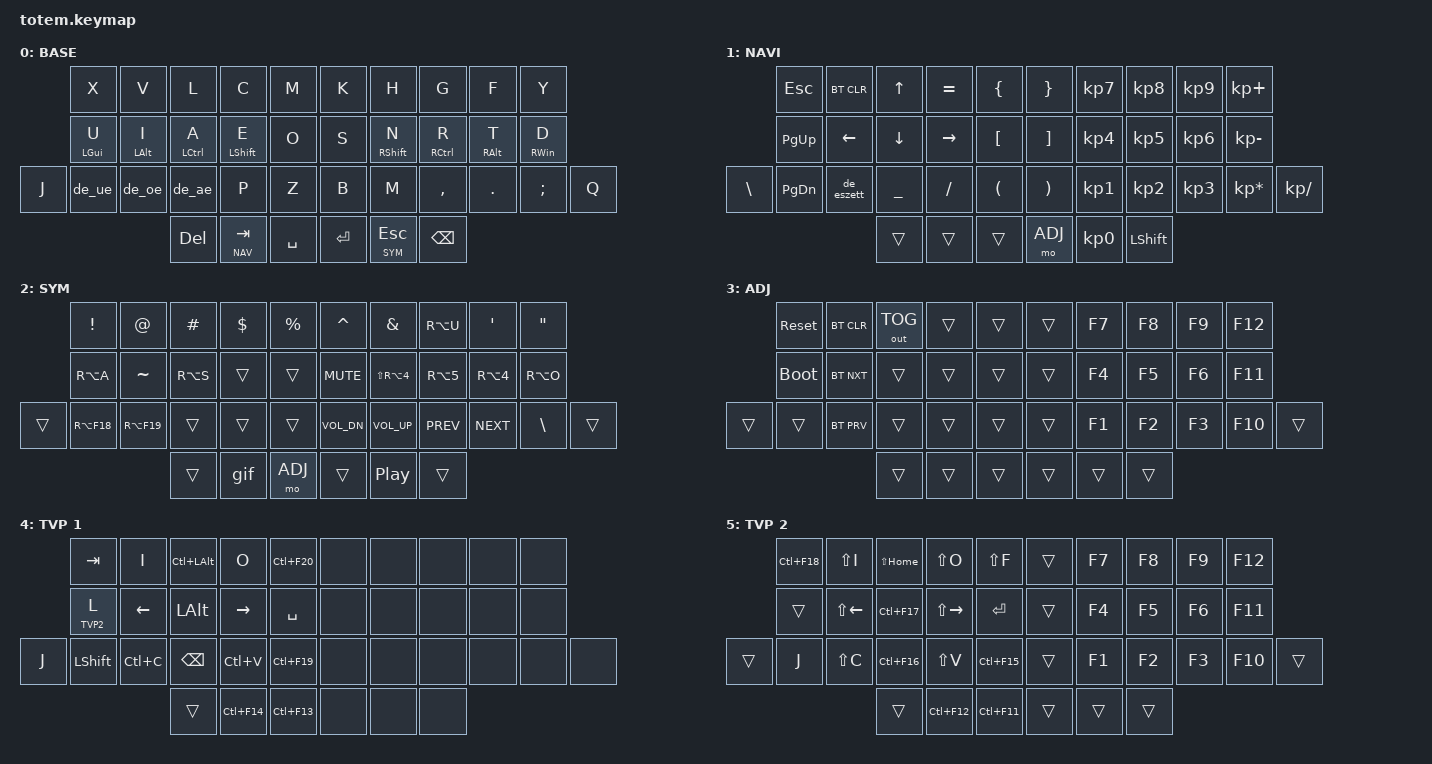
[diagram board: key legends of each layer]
//
//                                                        ▀▀▀▀▀     ▀▀▀▀▀          ▀▀█▀▀
//                                                        ▄▀▀▀▄  ▄  ▄▀▀▀▄  ▄  ▄▀▀▀▄  █  ▄▀▀▀▄
//                                                        █   █  █  █   █  █  █   █  █  █   █
//                                                         ▀▀▀   █   ▀▀▀   █   ▀▀▀   ▀   ▀▀▀
//                                                               █      ▄▄▄█▄▄▄    █   █  
//                                                               ▀      █  █  █     █▄█
//                                                             ▀▀▀▀▀    █  █  █      ▀
//                                                                      ▀  ▀  ▀
//
// ▄▄▄▄▄▄▄▄▄▄▄▄▄▄▄▄▄▄▄▄▄▄▄▄▄▄▄▄▄▄▄▄▄▄▄▄▄▄▄▄▄▄▄▄▄▄▄▄▄▄▄▄▄▄▄▄▄▄▄▄▄▄▄▄▄▄▄▄▄▄▄▄▄▄▄▄▄▄▄▄▄▄▄▄▄▄▄▄▄▄▄▄▄▄▄▄▄▄▄▄▄▄▄▄▄▄▄▄▄▄▄▄▄▄▄▄▄▄▄▄▄▄▄▄▄▄▄▄▄▄▄▄▄▄▄▄▄▄▄▄▄▄▄▄▄▄▄▄▄

#include "zmk-helpers/helper.h"
#include "zmk-helpers/unicode-chars/german.dtsi"
#include <behaviors.dtsi>
#include <dt-bindings/zmk/bt.h>
#include <dt-bindings/zmk/keys.h>
#include <dt-bindings/zmk/outputs.h>

#define BASE 0
#define NAV  1
#define SYM  2
#define ADJ  3
#define TVP1 4
#define TVP2 5

&mt {
    quick-tap-ms = <100>;
    global-quick-tap;
    flavor = "tap-preferred";
    tapping-term-ms = <170>;
};

/ {
    combos {
        compatible = "zmk,combos";

        combo_esc {
            timeout-ms = <50>;
            key-positions = <0 1>;
            bindings = <&kp ESC>;
        };

        combo_tvp {
            timeout-ms = <100>;
            key-positions = <11 12 13>;
            bindings = <&tog TVP1>;
        };
    };

    macros {
        gif: gif {
            label = "giphy";
            compatible = "zmk,behavior-macro";
            #binding-cells = <0>;
            bindings =
                <&macro_press>,
                <&kp LSHFT>,
                <&macro_tap>,
                <&kp N2>,
                <&macro_release>,
                <&kp LSHFT>,
                <&macro_tap>,
                <&kp G &kp I &kp F>;
        };
    };

    keymap {
        compatible = "zmk,keymap";

        // ▄▄▄▄▄▄▄▄▄▄▄▄▄▄▄▄▄▄▄▄▄▄▄▄▄▄▄▄▄▄▄▄▄▄▄▄▄▄▄▄▄▄▄▄▄▄▄▄▄▄▄▄▄▄▄▄▄▄▄▄▄▄▄▄▄▄▄▄▄▄▄▄▄▄▄▄▄▄▄▄▄▄▄▄▄▄▄▄▄▄▄▄▄▄▄▄▄▄▄▄▄▄▄▄▄▄▄▄▄▄▄▄▄▄▄▄▄▄▄▄▄▄▄▄▄▄▄▄▄▄▄▄▄▄▄▄▄▄▄▄▄▄▄▄▄▄▄▄▄

        base_layer {
            // ┏━━━━━━━━━━━━━━━━━━━━━━━━━━━━━━━━━━━━━━━┓

            label = "BASE";

            // ┗━━━━━━━━━━━━━━━━━━━━━━━━━━━━━━━━━━━━━━━┛
            //             ┏━━━━━━━━━━━┳━━━━━━━━━━━┳━━━━━━━━━━━┳━━━━━━━━━━━┳━━━━━━━━━━━┓   ┏━━━━━━━━━━━┳━━━━━━━━━━━┳━━━━━━━━━━━┳━━━━━━━━━━━┳━━━━━━━━━━━┓
            //             ┃     Q     ┃     W     ┃     F     ┃     P     ┃     G     ┃   ┃     J     ┃     L     ┃     U     ┃     Y     ┃     ;     ┃
            //             ┣━━━━━━━━━━━╋━━━━━━━━━━━╋━━━━━━━━━━━╋━━━━━━━━━━━╋━━━━━━━━━━━┫   ┣━━━━━━━━━━━╋━━━━━━━━━━━╋━━━━━━━━━━━╋━━━━━━━━━━━╋━━━━━━━━━━━┫
            //             ┃     A     ┃     R     ┃     S     ┃     T     ┃     D     ┃   ┃     H     ┃     N     ┃     E     ┃     I     ┃     O     ┃
            // ┏━━━━━━━━━━━╋━━━━━━━━━━━╋━━━━━━━━━━━╋━━━━━━━━━━━╋━━━━━━━━━━━╋━━━━━━━━━━━┫   ┣━━━━━━━━━━━╋━━━━━━━━━━━╋━━━━━━━━━━━╋━━━━━━━━━━━╋━━━━━━━━━━━╋━━━━━━━━━━━┓
            // ┃     Q     ┃     Z     ┃     X     ┃     C     ┃     V     ┃     B     ┃   ┃     K     ┃     M     ┃     ,     ┃     .     ┃     /     ┃     \     ┃
            // ┗━━━━━━━━━━━┻━━━━━━━━━━━┻━━━━━━━━━━━╋━━━━━━━━━━━╋━━━━━━━━━━━╋━━━━━━━━━━━┫   ┣━━━━━━━━━━━╋━━━━━━━━━━━╋━━━━━━━━━━━╋━━━━━━━━━━━┻━━━━━━━━━━━┻━━━━━━━━━━━┛
            //                                     ┃    DEL    ┃    TAB    ┃    SPC    ┃   ┃   ENTER   ┃           ┃   BSPC    ┃
            //                                     ┗━━━━━━━━━━━┻━━━━━━━━━━━┻━━━━━━━━━━━┛   ┗━━━━━━━━━━━┻━━━━━━━━━━━┻━━━━━━━━━━━┛

            bindings = <
       &kp X       &kp V       &kp L        &kp C        &kp M        &kp K    &kp H           &kp G        &kp F       &kp Y
       &mt LGUI U  &mt LALT I  &mt LCTRL A  &mt LSHFT E  &kp O        &kp S    &mt RSHFT N     &mt RCTRL R  &mt RALT T  &mt RIGHT_WIN D
&kp J  &de_ue      &de_oe      &de_ae       &kp P        &kp Z        &kp B    &kp M           &kp COMMA    &kp DOT     &kp SEMICOLON    &kp Q
                               &kp DEL      &lt NAV TAB  &kp SPACE    &kp RET  &lt SYM ESCAPE  &kp BSPC
            >;
        };

        // ▄▄▄▄▄▄▄▄▄▄▄▄▄▄▄▄▄▄▄▄▄▄▄▄▄▄▄▄▄▄▄▄▄▄▄▄▄▄▄▄▄▄▄▄▄▄▄▄▄▄▄▄▄▄▄▄▄▄▄▄▄▄▄▄▄▄▄▄▄▄▄▄▄▄▄▄▄▄▄▄▄▄▄▄▄▄▄▄▄▄▄▄▄▄▄▄▄▄▄▄▄▄▄▄▄▄▄▄▄▄▄▄▄▄▄▄▄▄▄▄▄▄▄▄▄▄▄▄▄▄▄▄▄▄▄▄▄▄▄▄▄▄▄▄▄▄▄▄▄

        nav_layer {
            // ┏━━━━━━━━━━━━━━━━━━━━━━━━━━━━━━━━━━━━━━━┓

            label = "NAVI";

            // ┗━━━━━━━━━━━━━━━━━━━━━━━━━━━━━━━━━━━━━━━┛
            //             ┏━━━━━━━━━━━┳━━━━━━━━━━━┳━━━━━━━━━━━┳━━━━━━━━━━━┳━━━━━━━━━━━┓   ┏━━━━━━━━━━━┳━━━━━━━━━━━┳━━━━━━━━━━━┳━━━━━━━━━━━┳━━━━━━━━━━━┓
            //             ┃           ┃           ┃     UP    ┃           ┃     {     ┃   ┃     }     ┃     7     ┃     8     ┃     9     ┃     +     ┃
            //             ┣━━━━━━━━━━━╋━━━━━━━━━━━╋━━━━━━━━━━━╋━━━━━━━━━━━╋━━━━━━━━━━━┫   ┣━━━━━━━━━━━╋━━━━━━━━━━━╋━━━━━━━━━━━╋━━━━━━━━━━━╋━━━━━━━━━━━┫
            //             ┃   SHIFT   ┃   LEFT    ┃    DOWN   ┃   RIGHT   ┃     [     ┃   ┃     ]     ┃     4     ┃     5     ┃     6     ┃     -     ┃
            // ┏━━━━━━━━━━━╋━━━━━━━━━━━╋━━━━━━━━━━━╋━━━━━━━━━━━╋━━━━━━━━━━━╋━━━━━━━━━━━┫   ┣━━━━━━━━━━━╋━━━━━━━━━━━╋━━━━━━━━━━━╋━━━━━━━━━━━╋━━━━━━━━━━━╋━━━━━━━━━━━┓
            // ┃           ┃           ┃   P UP    ┃  C LOCK   ┃  P DOWN   ┃     (     ┃   ┃     )     ┃     1     ┃     2     ┃     3     ┃     *     ┃           ┃
            // ┗━━━━━━━━━━━┻━━━━━━━━━━━┻━━━━━━━━━━━╋━━━━━━━━━━━╋━━━━━━━━━━━╋━━━━━━━━━━━┫   ┣━━━━━━━━━━━╋━━━━━━━━━━━╋━━━━━━━━━━━╋━━━━━━━━━━━┻━━━━━━━━━━━┻━━━━━━━━━━━┛
            //                                     ┃           ┃    TAB    ┃    SPC    ┃   ┃    DEL    ┃     0     ┃           ┃
            //                                     ┗━━━━━━━━━━━┻━━━━━━━━━━━┻━━━━━━━━━━━┛   ┗━━━━━━━━━━━┻━━━━━━━━━━━┻━━━━━━━━━━━┛

            bindings = <
               &kp ESC    &bt BT_CLR  &kp UP          &kp EQUAL  &kp LBRC    &kp RBRC  &kp KP_N7  &kp KP_N8  &kp KP_N9  &kp KP_PLUS
               &kp PG_UP  &kp LEFT    &kp DOWN        &kp RIGHT  &kp LBKT    &kp RBKT  &kp KP_N4  &kp KP_N5  &kp KP_N6  &kp KP_MINUS
&kp BACKSLASH  &kp PG_DN  &de_eszett  &kp UNDERSCORE  &kp SLASH  &kp LPAR    &kp RPAR  &kp KP_N1  &kp KP_N2  &kp KP_N3  &kp KP_MULTIPLY  &kp KP_DIVIDE
                                      &trans          &trans     &trans      &mo ADJ   &kp KP_N0  &kp LSHFT
            >;
        };

        // ▄▄▄▄▄▄▄▄▄▄▄▄▄▄▄▄▄▄▄▄▄▄▄▄▄▄▄▄▄▄▄▄▄▄▄▄▄▄▄▄▄▄▄▄▄▄▄▄▄▄▄▄▄▄▄▄▄▄▄▄▄▄▄▄▄▄▄▄▄▄▄▄▄▄▄▄▄▄▄▄▄▄▄▄▄▄▄▄▄▄▄▄▄▄▄▄▄▄▄▄▄▄▄▄▄▄▄▄▄▄▄▄▄▄▄▄▄▄▄▄▄▄▄▄▄▄▄▄▄▄▄▄▄▄▄▄▄▄▄▄▄▄▄▄▄▄▄▄▄

        sim_layer {
            // ┏━━━━━━━━━━━━━━━━━━━━━━━━━━━━━━━━━━━━━━━┓

            label = "SYM";

            // ┗━━━━━━━━━━━━━━━━━━━━━━━━━━━━━━━━━━━━━━━┛
            //             ┏━━━━━━━━━━━┳━━━━━━━━━━━┳━━━━━━━━━━━┳━━━━━━━━━━━┳━━━━━━━━━━━┓   ┏━━━━━━━━━━━┳━━━━━━━━━━━┳━━━━━━━━━━━┳━━━━━━━━━━━┳━━━━━━━━━━━┓
            //             ┃     !     ┃     @     ┃     #     ┃     $     ┃     %     ┃   ┃     ˆ     ┃     &     ┃     Ü     ┃     '     ┃     "     ┃
            //             ┣━━━━━━━━━━━╋━━━━━━━━━━━╋━━━━━━━━━━━╋━━━━━━━━━━━╋━━━━━━━━━━━┫   ┣━━━━━━━━━━━╋━━━━━━━━━━━╋━━━━━━━━━━━╋━━━━━━━━━━━╋━━━━━━━━━━━┫
            //             ┃     Ä     ┃           ┃    SZ     ┃           ┃           ┃   ┃   MUTE    ┃   YEN     ┃   EURO    ┃  POUND    ┃     Ö     ┃
            // ┏━━━━━━━━━━━╋━━━━━━━━━━━╋━━━━━━━━━━━╋━━━━━━━━━━━╋━━━━━━━━━━━╋━━━━━━━━━━━┫   ┣━━━━━━━━━━━╋━━━━━━━━━━━╋━━━━━━━━━━━╋━━━━━━━━━━━╋━━━━━━━━━━━╋━━━━━━━━━━━┓
            // ┃           ┃  EMAIL1   ┃  EMAIL2   ┃           ┃           ┃           ┃   ┃   VOL-    ┃   VOL+    ┃   LAST    ┃   NEXT    ┃     \     ┃           ┃
            // ┗━━━━━━━━━━━┻━━━━━━━━━━━┻━━━━━━━━━━━╋━━━━━━━━━━━╋━━━━━━━━━━━╋━━━━━━━━━━━┫   ┣━━━━━━━━━━━╋━━━━━━━━━━━╋━━━━━━━━━━━╋━━━━━━━━━━━┻━━━━━━━━━━━┻━━━━━━━━━━━┛
            //                                     ┃           ┃    GIF    ┃    ADJ    ┃   ┃           ┃           ┃           ┃
            //                                     ┗━━━━━━━━━━━┻━━━━━━━━━━━┻━━━━━━━━━━━┛   ┗━━━━━━━━━━━┻━━━━━━━━━━━┻━━━━━━━━━━━┛

            bindings = <
        &kp EXCL     &kp AT       &kp HASH   &kp DLLR  &kp PRCNT    &kp CARET     &kp AMPS        &kp RA(U)   &kp SQT     &kp DQT
        &kp RA(A)    &kp TILDE    &kp RA(S)  &trans    &trans       &kp C_MUTE    &kp LS(RA(N4))  &kp RA(N5)  &kp RA(N4)  &kp RA(O)
&trans  &kp RA(F18)  &kp RA(F19)  &trans     &trans    &trans       &kp C_VOL_DN  &kp C_VOL_UP    &kp C_PREV  &kp C_NEXT  &kp BSLH   &trans
                                  &trans     &gif      &mo ADJ      &trans        &kp C_PP        &trans
            >;
        };

        // ▄▄▄▄▄▄▄▄▄▄▄▄▄▄▄▄▄▄▄▄▄▄▄▄▄▄▄▄▄▄▄▄▄▄▄▄▄▄▄▄▄▄▄▄▄▄▄▄▄▄▄▄▄▄▄▄▄▄▄▄▄▄▄▄▄▄▄▄▄▄▄▄▄▄▄▄▄▄▄▄▄▄▄▄▄▄▄▄▄▄▄▄▄▄▄▄▄▄▄▄▄▄▄▄▄▄▄▄▄▄▄▄▄▄▄▄▄▄▄▄▄▄▄▄▄▄▄▄▄▄▄▄▄▄▄▄▄▄▄▄▄▄▄▄▄▄▄▄▄

        adjust_layer {
            // ┏━━━━━━━━━━━━━━━━━━━━━━━━━━━━━━━━━━━━━━━┓

            label = "ADJ";

            // ┗━━━━━━━━━━━━━━━━━━━━━━━━━━━━━━━━━━━━━━━┛
            //             ┏━━━━━━━━━━━┳━━━━━━━━━━━┳━━━━━━━━━━━┳━━━━━━━━━━━┳━━━━━━━━━━━┓   ┏━━━━━━━━━━━┳━━━━━━━━━━━┳━━━━━━━━━━━┳━━━━━━━━━━━┳━━━━━━━━━━━┓
            //             ┃   RESET   ┃ BT CLEAR  ┃  OUT TOG  ┃           ┃           ┃   ┃           ┃    F7     ┃    F8     ┃    F9     ┃    F12    ┃
            //             ┣━━━━━━━━━━━╋━━━━━━━━━━━╋━━━━━━━━━━━╋━━━━━━━━━━━╋━━━━━━━━━━━┫   ┣━━━━━━━━━━━╋━━━━━━━━━━━╋━━━━━━━━━━━╋━━━━━━━━━━━╋━━━━━━━━━━━┫
            //             ┃ BOOTLOAD  ┃ BT NEXT   ┃           ┃           ┃           ┃   ┃           ┃    F4     ┃    F5     ┃    F6     ┃    F11    ┃
            // ┏━━━━━━━━━━━╋━━━━━━━━━━━╋━━━━━━━━━━━╋━━━━━━━━━━━╋━━━━━━━━━━━╋━━━━━━━━━━━┫   ┣━━━━━━━━━━━╋━━━━━━━━━━━╋━━━━━━━━━━━╋━━━━━━━━━━━╋━━━━━━━━━━━╋━━━━━━━━━━━┓
            // ┃           ┃           ┃ BT PREV   ┃           ┃           ┃           ┃   ┃           ┃    F1     ┃    F2     ┃    F3     ┃    F10    ┃           ┃
            // ┗━━━━━━━━━━━┻━━━━━━━━━━━┻━━━━━━━━━━━╋━━━━━━━━━━━╋━━━━━━━━━━━╋━━━━━━━━━━━┫   ┣━━━━━━━━━━━╋━━━━━━━━━━━╋━━━━━━━━━━━╋━━━━━━━━━━━┻━━━━━━━━━━━┻━━━━━━━━━━━┛
            //                                     ┃           ┃           ┃           ┃   ┃           ┃           ┃           ┃
            //                                     ┗━━━━━━━━━━━┻━━━━━━━━━━━┻━━━━━━━━━━━┛   ┗━━━━━━━━━━━┻━━━━━━━━━━━┻━━━━━━━━━━━┛

            bindings = <
        &sys_reset   &bt BT_CLR  &out OUT_TOG  &trans  &trans    &trans  &kp F7  &kp F8  &kp F9  &kp F12
        &bootloader  &bt BT_NXT  &trans        &trans  &trans    &trans  &kp F4  &kp F5  &kp F6  &kp F11
&trans  &trans       &bt BT_PRV  &trans        &trans  &trans    &trans  &kp F1  &kp F2  &kp F3  &kp F10  &trans
                                 &trans        &trans  &trans    &trans  &trans  &trans
            >;
        };

        // ▄▄▄▄▄▄▄▄▄▄▄▄▄▄▄▄▄▄▄▄▄▄▄▄▄▄▄▄▄▄▄▄▄▄▄▄▄▄▄▄▄▄▄▄▄▄▄▄▄▄▄▄▄▄▄▄▄▄▄▄▄▄▄▄▄▄▄▄▄▄▄▄▄▄▄▄▄▄▄▄▄▄▄▄▄▄▄▄▄▄▄▄▄▄▄▄▄▄▄▄▄▄▄▄▄▄▄▄▄▄▄▄▄▄▄▄▄▄▄▄▄▄▄▄▄▄▄▄▄▄▄▄▄▄▄▄▄▄▄▄▄▄▄▄▄▄▄▄▄

        tvp1_layer {
            // ┏━━━━━━━━━━━━━━━━━━━━━━━━━━━━━━━━━━━━━━━┓

            label = "TVP 1";

            // ┗━━━━━━━━━━━━━━━━━━━━━━━━━━━━━━━━━━━━━━━┛
            //             ┏━━━━━━━━━━━┳━━━━━━━━━━━┳━━━━━━━━━━━┳━━━━━━━━━━━┳━━━━━━━━━━━┓   ┏━━━━━━━━━━━┳━━━━━━━━━━━┳━━━━━━━━━━━┳━━━━━━━━━━━┳━━━━━━━━━━━┓
            //             ┃ NEXT FILE ┃ MARK IN   ┃ ROTATE    ┃ MARK OUT  ┃ SHOW SNAP ┃   ┃           ┃           ┃           ┃           ┃           ┃
            //             ┣━━━━━━━━━━━╋━━━━━━━━━━━╋━━━━━━━━━━━╋━━━━━━━━━━━╋━━━━━━━━━━━┫   ┣━━━━━━━━━━━╋━━━━━━━━━━━╋━━━━━━━━━━━╋━━━━━━━━━━━╋━━━━━━━━━━━┫
            //             ┃ TVP II    ┃ LEFT      ┃ PAN       ┃ RIGHT     ┃ PLAY/FLIP ┃   ┃           ┃           ┃           ┃           ┃           ┃
            // ┏━━━━━━━━━━━╋━━━━━━━━━━━╋━━━━━━━━━━━╋━━━━━━━━━━━╋━━━━━━━━━━━╋━━━━━━━━━━━┫   ┣━━━━━━━━━━━╋━━━━━━━━━━━╋━━━━━━━━━━━╋━━━━━━━━━━━╋━━━━━━━━━━━╋━━━━━━━━━━━┓
            // ┃ FULLSCR   ┃ SHIFT     ┃ COPY      ┃ DELETE    ┃ PASTE     ┃ IMG MARK  ┃   ┃           ┃           ┃           ┃           ┃           ┃           ┃
            // ┗━━━━━━━━━━━┻━━━━━━━━━━━┻━━━━━━━━━━━╋━━━━━━━━━━━╋━━━━━━━━━━━╋━━━━━━━━━━━┫   ┣━━━━━━━━━━━╋━━━━━━━━━━━╋━━━━━━━━━━━╋━━━━━━━━━━━┻━━━━━━━━━━━┻━━━━━━━━━━━┛
            //                                     ┃           ┃ UNDO/SAVE ┃  SEL/MOV  ┃   ┃           ┃           ┃           ┃
            //                                     ┗━━━━━━━━━━━┻━━━━━━━━━━━┻━━━━━━━━━━━┛   ┗━━━━━━━━━━━┻━━━━━━━━━━━┻━━━━━━━━━━━┛

            bindings = <
       &kp TAB     &kp I      &kp LC(LALT)  &kp O        &kp LC(F20)    &none  &none  &none  &none  &none
       &lt TVP2 L  &kp LEFT   &kp LALT      &kp RIGHT    &kp SPACE      &none  &none  &none  &none  &none
&kp J  &kp LSHFT   &kp LC(C)  &kp BSPC      &kp LC(V)    &kp LC(F19)    &none  &none  &none  &none  &none  &none
                              &trans        &kp LC(F14)  &kp LC(F13)    &none  &none  &none
            >;
        };

        // ▄▄▄▄▄▄▄▄▄▄▄▄▄▄▄▄▄▄▄▄▄▄▄▄▄▄▄▄▄▄▄▄▄▄▄▄▄▄▄▄▄▄▄▄▄▄▄▄▄▄▄▄▄▄▄▄▄▄▄▄▄▄▄▄▄▄▄▄▄▄▄▄▄▄▄▄▄▄▄▄▄▄▄▄▄▄▄▄▄▄▄▄▄▄▄▄▄▄▄▄▄▄▄▄▄▄▄▄▄▄▄▄▄▄▄▄▄▄▄▄▄▄▄▄▄▄▄▄▄▄▄▄▄▄▄▄▄▄▄▄▄▄▄▄▄▄▄▄▄

        tvp2_layer {
            // ┏━━━━━━━━━━━━━━━━━━━━━━━━━━━━━━━━━━━━━━━┓

            label = "TVP 2";

            // ┗━━━━━━━━━━━━━━━━━━━━━━━━━━━━━━━━━━━━━━━┛
            //             ┏━━━━━━━━━━━┳━━━━━━━━━━━┳━━━━━━━━━━━┳━━━━━━━━━━━┳━━━━━━━━━━━┓   ┏━━━━━━━━━━━┳━━━━━━━━━━━┳━━━━━━━━━━━┳━━━━━━━━━━━┳━━━━━━━━━━━┓
            //             ┃ SOLO      ┃ TOGGLE IN ┃ RESET ROT ┃ TOGGLE OUT┃ TAKE SNAP ┃   ┃           ┃           ┃           ┃           ┃           ┃
            //             ┣━━━━━━━━━━━╋━━━━━━━━━━━╋━━━━━━━━━━━╋━━━━━━━━━━━╋━━━━━━━━━━━┫   ┣━━━━━━━━━━━╋━━━━━━━━━━━╋━━━━━━━━━━━╋━━━━━━━━━━━╋━━━━━━━━━━━┫
            //             ┃ ---       ┃ LAST KEY  ┃ NEW KEY   ┃ NEXT KEY  ┃ ENTER     ┃   ┃           ┃           ┃           ┃           ┃           ┃
            // ┏━━━━━━━━━━━╋━━━━━━━━━━━╋━━━━━━━━━━━╋━━━━━━━━━━━╋━━━━━━━━━━━╋━━━━━━━━━━━┫   ┣━━━━━━━━━━━╋━━━━━━━━━━━╋━━━━━━━━━━━╋━━━━━━━━━━━╋━━━━━━━━━━━╋━━━━━━━━━━━┓
            // ┃           ┃ FULLSCR   ┃ CPY2BRUSH ┃ DEL HEAD  ┃ PSTinPLACE┃ BOOK MARK ┃   ┃           ┃           ┃           ┃           ┃           ┃           ┃
            // ┗━━━━━━━━━━━┻━━━━━━━━━━━┻━━━━━━━━━━━╋━━━━━━━━━━━╋━━━━━━━━━━━╋━━━━━━━━━━━┫   ┣━━━━━━━━━━━╋━━━━━━━━━━━╋━━━━━━━━━━━╋━━━━━━━━━━━┻━━━━━━━━━━━┻━━━━━━━━━━━┛
            //                                     ┃           ┃ REDO/SAV1 ┃TRANS/WARP ┃   ┃           ┃           ┃           ┃
            //                                     ┗━━━━━━━━━━━┻━━━━━━━━━━━┻━━━━━━━━━━━┛   ┗━━━━━━━━━━━┻━━━━━━━━━━━┻━━━━━━━━━━━┛

            bindings = <
        &kp LC(F18)  &kp LS(I)     &kp LS(HOME)  &kp LS(O)      &kp LS(F)      &trans  &kp F7  &kp F8  &kp F9  &kp F12
        &trans       &kp LS(LEFT)  &kp LC(F17)   &kp LS(RIGHT)  &kp RET        &trans  &kp F4  &kp F5  &kp F6  &kp F11
&trans  &kp J        &kp LS(C)     &kp LC(F16)   &kp LS(V)      &kp LC(F15)    &trans  &kp F1  &kp F2  &kp F3  &kp F10  &trans
                                   &trans        &kp LC(F12)    &kp LC(F11)    &trans  &trans  &trans
            >;
        };
    };
};
